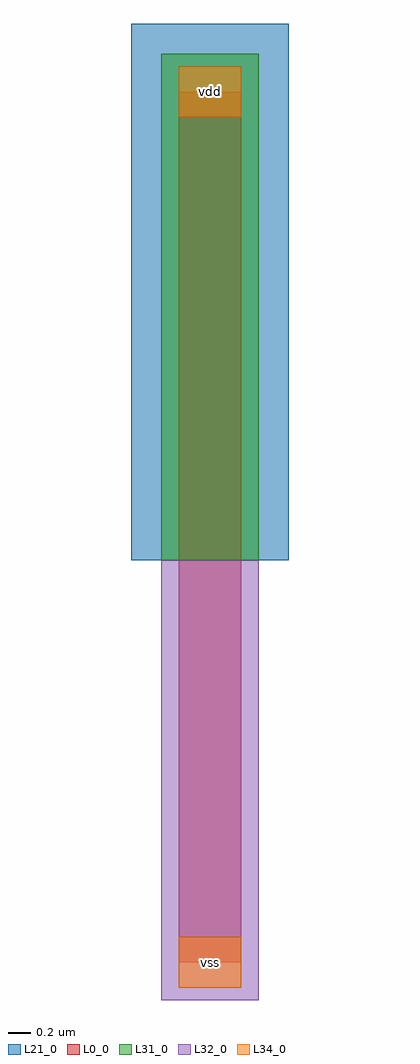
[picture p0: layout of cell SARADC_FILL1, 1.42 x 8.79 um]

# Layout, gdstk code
import gdstk
lib = gdstk.Library(unit=1e-6, precision=1e-09)
def R(c, l, rs):  # rectangles x0, y0, x1, y1
    for r in rs: c.add(gdstk.rectangle(r[:2], r[2:], *l))
L0_0 = (0, 0)
L21_0 = (21, 0)
L31_0 = (31, 0)
L32_0 = (32, 0)
L34_0 = (34, 0)

saradc_fill1 = lib.new_cell('SARADC_FILL1')
R(saradc_fill1, L0_0, [(0,0,0.56,7.84)])
R(saradc_fill1, L21_0, [(-0.43,3.62,0.99,8.45)])
R(saradc_fill1, L31_0, [(-0.16,3.62,0.72,8.18)])
R(saradc_fill1, L32_0, [(-0.16,-0.34,0.72,3.62)])
R(saradc_fill1, L34_0, [(0,-0.23,0.56,0.23), (0,7.61,0.56,8.07)])
saradc_fill1.add(gdstk.Label('vss', (0.28,0), layer=34, texttype=10))
saradc_fill1.add(gdstk.Label('vdd', (0.28,7.84), layer=34, texttype=10))

lib.write_gds('SARADC_FILL1.gds')
